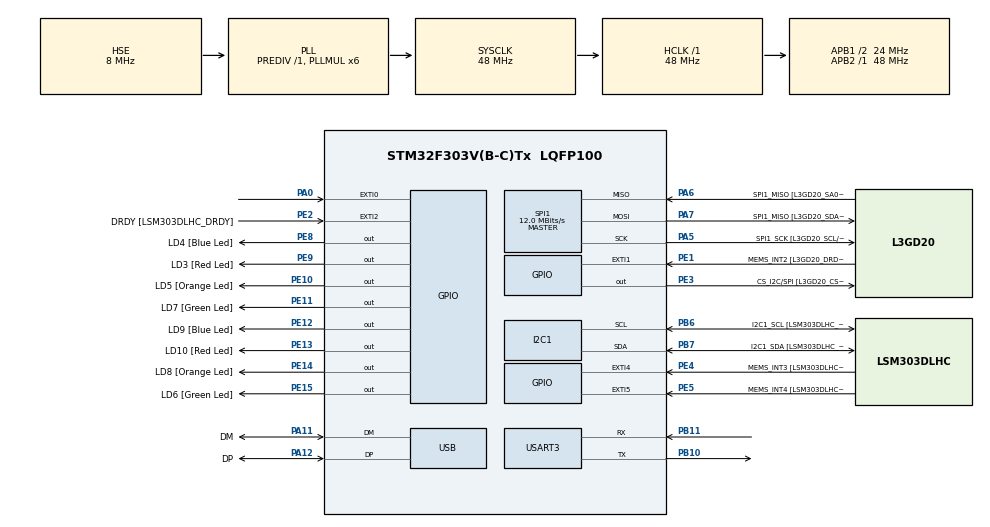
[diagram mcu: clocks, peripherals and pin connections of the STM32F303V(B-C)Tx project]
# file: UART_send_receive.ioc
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I2C1.Timing=0x2000090E
I2C1.Timing-I2C=0x2000090E
Mcu.Family=STM32F3
Mcu.Name=STM32F303V(B-C)Tx
Mcu.Package=LQFP100
NVIC.EXTI0_IRQn=true\:7\:0\:true\:false\:true\:true\:true\:true
NVIC.PriorityGroup=NVIC_PRIORITYGROUP_4
NVIC.TIM6_DAC_IRQn=true\:15\:0\:false\:false\:true\:false\:true\:true
NVIC.TimeBase=TIM6_DAC_IRQn
NVIC.TimeBaseIP=TIM6
NVIC.USART3_IRQn=true\:6\:0\:true\:false\:true\:true\:true\:true
PA0.Signal=GPXTI0
PA11.GPIO_Label=DM
PA11.Mode=Device
PA11.Signal=USB_DM
PA12.GPIO_Label=DP
PA12.Mode=Device
PA12.Signal=USB_DP
PA13.GPIO_Label=SWDIO
PA13.Mode=Serial_Wire
PA13.Signal=SYS_JTMS-SWDIO
PA14.GPIO_Label=SWCLK
PA14.Mode=Serial_Wire
PA14.Signal=SYS_JTCK-SWCLK
PA5.GPIO_Label=SPI1_SCK [L3GD20_SCL/SPC]
PA5.Mode=Full_Duplex_Master
PA5.Signal=SPI1_SCK
PA6.GPIO_Label=SPI1_MISO [L3GD20_SA0/SDO]
PA6.Mode=Full_Duplex_Master
PA6.Signal=SPI1_MISO
PA7.GPIO_Label=SPI1_MISO [L3GD20_SDA/SDI/SDO]
PA7.Mode=Full_Duplex_Master
PA7.Signal=SPI1_MOSI
PB10.Mode=Asynchronous
PB10.Signal=USART3_TX
PB11.Mode=Asynchronous
PB11.Signal=USART3_RX
PB3.GPIO_Label=SWO
PB3.Signal=SYS_JTDO-TRACESWO
PB6.GPIO_Label=I2C1_SCL [LSM303DLHC_SCL]
PB6.GPIO_Pu=GPIO_PULLUP
PB6.Mode=I2C
PB6.Signal=I2C1_SCL
PB7.GPIO_Label=I2C1_SDA [LSM303DLHC_SDA]
PB7.GPIO_Pu=GPIO_PULLUP
PB7.Mode=I2C
PB7.Signal=I2C1_SDA
PC14-OSC32_IN.GPIO_Label=OSC32_IN
PC14-OSC32_IN.Signal=RCC_OSC32_IN
PC15-OSC32_OUT.GPIO_Label=OSC32_OUT
PC15-OSC32_OUT.Signal=RCC_OSC32_OUT
PE1.GPIO_Label=MEMS_INT2 [L3GD20_DRDY/INT2]
PE1.GPIO_ModeDefaultEXTI=GPIO_MODE_EVT_RISING
PE1.Signal=GPXTI1
PE10.GPIO_Label=LD5 [Orange Led]
PE10.Signal=GPIO_Output
PE11.GPIO_Label=LD7 [Green Led]
PE11.Signal=GPIO_Output
PE12.GPIO_Label=LD9 [Blue Led]
PE12.Signal=GPIO_Output
PE13.GPIO_Label=LD10 [Red Led]
PE13.Signal=GPIO_Output
PE14.GPIO_Label=LD8 [Orange Led]
PE14.Signal=GPIO_Output
PE15.GPIO_Label=LD6 [Green Led]
PE15.Signal=GPIO_Output
PE2.GPIO_Label=DRDY [LSM303DLHC_DRDY]
PE2.GPIO_ModeDefaultEXTI=GPIO_MODE_EVT_RISING
PE2.Signal=GPXTI2
PE3.GPIO_Label=CS_I2C/SPI [L3GD20_CS_I2C/SPI]
PE3.Signal=GPIO_Output
PE4.GPIO_Label=MEMS_INT3 [LSM303DLHC_INT1]
PE4.GPIO_ModeDefaultEXTI=GPIO_MODE_EVT_RISING
PE4.Signal=GPXTI4
PE5.GPIO_Label=MEMS_INT4 [LSM303DLHC_INT2]
PE5.GPIO_ModeDefaultEXTI=GPIO_MODE_EVT_RISING
PE5.Signal=GPXTI5
PE8.GPIO_Label=LD4 [Blue Led]
PE8.Signal=GPIO_Output
PE9.GPIO_Label=LD3 [Red Led]
PE9.Signal=GPIO_Output
PF0-OSC_IN.GPIO_Label=OSC_IN
PF0-OSC_IN.Mode=HSE-External-Clock-Source
PF0-OSC_IN.Signal=RCC_OSC_IN
PF1-OSC_OUT.GPIO_Label=OSC_OUT
PF1-OSC_OUT.Signal=RCC_OSC_OUT
ProjectManager.HeapSize=0x200
ProjectManager.StackSize=0x400
ProjectManager.TargetToolchain=STM32CubeIDE
RCC.AHBFreq_Value=48000000
RCC.APB1CLKDivider=RCC_HCLK_DIV2
RCC.APB1Freq_Value=24000000
RCC.APB1TimFreq_Value=48000000
RCC.APB2Freq_Value=48000000
RCC.APB2TimFreq_Value=48000000
RCC.CortexFreq_Value=48000000
RCC.HCLKFreq_Value=48000000
RCC.HSE_VALUE=8000000
RCC.HSI_VALUE=8000000
RCC.LSE_VALUE=32768
RCC.PLLMUL=RCC_PLL_MUL6
RCC.SYSCLKFreq_VALUE=48000000
RCC.SYSCLKSourceVirtual=RCC_SYSCLKSOURCE_PLLCLK
RCC.USBFreq_Value=48000000
SPI1.BaudRatePrescaler=SPI_BAUDRATEPRESCALER_4
SPI1.BaudRatePrescaler-Full_Duplex_Master=SPI_BAUDRATEPRESCALER_2
SPI1.CalculateBaudRate=12.0 MBits/s
SPI1.CalculateBaudRate-Full_Duplex_Master=24.0 MBits/s
SPI1.Direction=SPI_DIRECTION_2LINES
SPI1.Mode=SPI_MODE_MASTER
SPI1.Mode-Full_Duplex_Master=SPI_MODE_MASTER
SPI1.VirtualType=VM_MASTER
USART3.VirtualMode-Asynchronous=VM_ASYNC
VP_SYS_VS_tim6.Mode=TIM6
board=STM32F3DISCOVERY

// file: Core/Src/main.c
/* USER CODE BEGIN Header */
/**
  ******************************************************************************
  * @file           : main.c
  * @brief          : Main program body
  ******************************************************************************
  * @attention
  *
  * Copyright (c) 2023 STMicroelectronics.
  * All rights reserved.
  *
  * This software is licensed under terms that can be found in the LICENSE file
  * in the root directory of this software component.
  * If no LICENSE file comes with this software, it is provided AS-IS.
  *
  ******************************************************************************
  */
/* USER CODE END Header */
#include "main.h"

/* USER CODE BEGIN Includes */
#include <stdio.h>
#include"FreeRTOS.h"
#include "task.h"
#include "queue.h"
#include <string.h>
/* USER CODE END Includes */

/* USER CODE BEGIN PD */
#define DWT_CTRL		(*(volatile uint32_t *) 0xE0001000)

#define LED_GREEN_1 	GPIO_PIN_15
#define LED_GREEN_2 	GPIO_PIN_11
#define LED_ORANGE_1 	GPIO_PIN_14
#define LED_ORANGE_2 	GPIO_PIN_10
#define LED_BLUE_1 		GPIO_PIN_12
#define LED_BLUE_2 		GPIO_PIN_8
#define LED_RED_1		GPIO_PIN_13
#define LED_RED_2		GPIO_PIN_9
/* USER CODE END PD */

I2C_HandleTypeDef hi2c1;

SPI_HandleTypeDef hspi1;

UART_HandleTypeDef huart3;

PCD_HandleTypeDef hpcd_USB_FS;

/* USER CODE BEGIN PV */
TaskHandle_t UART_RX_handle;
TaskHandle_t UART_TX_handle;

/* USER CODE END PV */

void SystemClock_Config(void);
static void MX_GPIO_Init(void);
static void MX_I2C1_Init(void);
static void MX_SPI1_Init(void);
static void MX_USB_PCD_Init(void);
static void MX_USART3_UART_Init(void);

/* USER CODE BEGIN PFP */
static void UART_RX_handler(void* parameters);
static void UART_TX_handler(void* parameters);

void MyIrq(void);
/* USER CODE END PFP */

/* USER CODE BEGIN 0 */
uint8_t rx_buff [100];

xQueueHandle UART_queue;
/* USER CODE END 0 */

int main(void)
{

  /* MCU Configuration--------------------------------------------------------*/

  /* Reset of all peripherals, Initializes the Flash interface and the Systick. */
  HAL_Init();

  /* Configure the system clock */
  SystemClock_Config();

  /* Initialize all configured peripherals */
  MX_GPIO_Init();
  MX_I2C1_Init();
  MX_SPI1_Init();
  MX_USB_PCD_Init();
  MX_USART3_UART_Init();
  /* USER CODE BEGIN 2 */

	DWT_CTRL |= (1 << 0);

	SEGGER_SYSVIEW_Conf();

	SEGGER_SYSVIEW_Start();

	BaseType_t Status;

	Status = xTaskCreate(UART_RX_handler, "UART_RX", 200, "UART_RX running", 3, &UART_RX_handle );
	configASSERT(Status == pdPASS);

	Status = xTaskCreate(UART_TX_handler, "UART_TX", 200, "UART_TX running", 3, &UART_TX_handle );
	configASSERT(Status == pdPASS);

	UART_queue = xQueueCreate(10, sizeof(size_t));
	configASSERT(UART_queue != NULL);

	//START SCHEDULER
	vTaskStartScheduler();

  /* USER CODE END 2 */

  /* Infinite loop */
  while (1)
  {

  }
}

void SystemClock_Config(void)
{
  RCC_OscInitTypeDef RCC_OscInitStruct = {0};
  RCC_ClkInitTypeDef RCC_ClkInitStruct = {0};
  RCC_PeriphCLKInitTypeDef PeriphClkInit = {0};

  /** Initializes the RCC Oscillators according to the specified parameters
  * in the RCC_OscInitTypeDef structure.
  */
  RCC_OscInitStruct.OscillatorType = RCC_OSCILLATORTYPE_HSI|RCC_OSCILLATORTYPE_HSE;
  RCC_OscInitStruct.HSEState = RCC_HSE_BYPASS;
  RCC_OscInitStruct.HSEPredivValue = RCC_HSE_PREDIV_DIV1;
  RCC_OscInitStruct.HSIState = RCC_HSI_ON;
  RCC_OscInitStruct.HSICalibrationValue = RCC_HSICALIBRATION_DEFAULT;
  RCC_OscInitStruct.PLL.PLLState = RCC_PLL_ON;
  RCC_OscInitStruct.PLL.PLLSource = RCC_PLLSOURCE_HSE;
  RCC_OscInitStruct.PLL.PLLMUL = RCC_PLL_MUL6;
  if (HAL_RCC_OscConfig(&RCC_OscInitStruct) != HAL_OK)
  {
    Error_Handler();
  }

  /** Initializes the CPU, AHB and APB buses clocks
  */
  RCC_ClkInitStruct.ClockType = RCC_CLOCKTYPE_HCLK|RCC_CLOCKTYPE_SYSCLK
                              |RCC_CLOCKTYPE_PCLK1|RCC_CLOCKTYPE_PCLK2;
  RCC_ClkInitStruct.SYSCLKSource = RCC_SYSCLKSOURCE_PLLCLK;
  RCC_ClkInitStruct.AHBCLKDivider = RCC_SYSCLK_DIV1;
  RCC_ClkInitStruct.APB1CLKDivider = RCC_HCLK_DIV2;
  RCC_ClkInitStruct.APB2CLKDivider = RCC_HCLK_DIV1;

  if (HAL_RCC_ClockConfig(&RCC_ClkInitStruct, FLASH_LATENCY_1) != HAL_OK)
  {
    Error_Handler();
  }
  PeriphClkInit.PeriphClockSelection = RCC_PERIPHCLK_USB|RCC_PERIPHCLK_USART3
                              |RCC_PERIPHCLK_I2C1;
  PeriphClkInit.Usart3ClockSelection = RCC_USART3CLKSOURCE_PCLK1;
  PeriphClkInit.I2c1ClockSelection = RCC_I2C1CLKSOURCE_HSI;
  PeriphClkInit.USBClockSelection = RCC_USBCLKSOURCE_PLL;
  if (HAL_RCCEx_PeriphCLKConfig(&PeriphClkInit) != HAL_OK)
  {
    Error_Handler();
  }
}

static void MX_I2C1_Init(void)
{

  hi2c1.Instance = I2C1;
  hi2c1.Init.Timing = 0x2000090E;
  hi2c1.Init.OwnAddress1 = 0;
  hi2c1.Init.AddressingMode = I2C_ADDRESSINGMODE_7BIT;
  hi2c1.Init.DualAddressMode = I2C_DUALADDRESS_DISABLE;
  hi2c1.Init.OwnAddress2 = 0;
  hi2c1.Init.OwnAddress2Masks = I2C_OA2_NOMASK;
  hi2c1.Init.GeneralCallMode = I2C_GENERALCALL_DISABLE;
  hi2c1.Init.NoStretchMode = I2C_NOSTRETCH_DISABLE;
  if (HAL_I2C_Init(&hi2c1) != HAL_OK)
  {
    Error_Handler();
  }

  /** Configure Analogue filter
  */
  if (HAL_I2CEx_ConfigAnalogFilter(&hi2c1, I2C_ANALOGFILTER_ENABLE) != HAL_OK)
  {
    Error_Handler();
  }

  /** Configure Digital filter
  */
  if (HAL_I2CEx_ConfigDigitalFilter(&hi2c1, 0) != HAL_OK)
  {
    Error_Handler();
  }

}

static void MX_SPI1_Init(void)
{

  /* SPI1 parameter configuration*/
  hspi1.Instance = SPI1;
  hspi1.Init.Mode = SPI_MODE_MASTER;
  hspi1.Init.Direction = SPI_DIRECTION_2LINES;
  hspi1.Init.DataSize = SPI_DATASIZE_4BIT;
  hspi1.Init.CLKPolarity = SPI_POLARITY_LOW;
  hspi1.Init.CLKPhase = SPI_PHASE_1EDGE;
  hspi1.Init.NSS = SPI_NSS_SOFT;
  hspi1.Init.BaudRatePrescaler = SPI_BAUDRATEPRESCALER_4;
  hspi1.Init.FirstBit = SPI_FIRSTBIT_MSB;
  hspi1.Init.TIMode = SPI_TIMODE_DISABLE;
  hspi1.Init.CRCCalculation = SPI_CRCCALCULATION_DISABLE;
  hspi1.Init.CRCPolynomial = 7;
  hspi1.Init.CRCLength = SPI_CRC_LENGTH_DATASIZE;
  hspi1.Init.NSSPMode = SPI_NSS_PULSE_ENABLE;
  if (HAL_SPI_Init(&hspi1) != HAL_OK)
  {
    Error_Handler();
  }

}

static void MX_USART3_UART_Init(void)
{

  huart3.Instance = USART3;
  huart3.Init.BaudRate = 38400;
  huart3.Init.WordLength = UART_WORDLENGTH_8B;
  huart3.Init.StopBits = UART_STOPBITS_1;
  huart3.Init.Parity = UART_PARITY_NONE;
  huart3.Init.Mode = UART_MODE_TX_RX;
  huart3.Init.HwFlowCtl = UART_HWCONTROL_NONE;
  huart3.Init.OverSampling = UART_OVERSAMPLING_16;
  huart3.Init.OneBitSampling = UART_ONE_BIT_SAMPLE_DISABLE;
  huart3.AdvancedInit.AdvFeatureInit = UART_ADVFEATURE_NO_INIT;
  if (HAL_UART_Init(&huart3) != HAL_OK)
  {
    Error_Handler();
  }

}

static void MX_USB_PCD_Init(void)
{

  hpcd_USB_FS.Instance = USB;
  hpcd_USB_FS.Init.dev_endpoints = 8;
  hpcd_USB_FS.Init.speed = PCD_SPEED_FULL;
  hpcd_USB_FS.Init.phy_itface = PCD_PHY_EMBEDDED;
  hpcd_USB_FS.Init.low_power_enable = DISABLE;
  hpcd_USB_FS.Init.battery_charging_enable = DISABLE;
  if (HAL_PCD_Init(&hpcd_USB_FS) != HAL_OK)
  {
    Error_Handler();
  }

}

static void MX_GPIO_Init(void)
{
  GPIO_InitTypeDef GPIO_InitStruct = {0};

  /* GPIO Ports Clock Enable */
  __HAL_RCC_GPIOE_CLK_ENABLE();
  __HAL_RCC_GPIOC_CLK_ENABLE();
  __HAL_RCC_GPIOF_CLK_ENABLE();
  __HAL_RCC_GPIOA_CLK_ENABLE();
  __HAL_RCC_GPIOB_CLK_ENABLE();

  /*Configure GPIO pin Output Level */
  HAL_GPIO_WritePin(GPIOE, CS_I2C_SPI_Pin|LD4_Pin|LD3_Pin|LD5_Pin
                          |LD7_Pin|LD9_Pin|LD10_Pin|LD8_Pin
                          |LD6_Pin, GPIO_PIN_RESET);

  /*Configure GPIO pins : DRDY_Pin MEMS_INT3_Pin MEMS_INT4_Pin MEMS_INT2_Pin */
  GPIO_InitStruct.Pin = DRDY_Pin|MEMS_INT3_Pin|MEMS_INT4_Pin|MEMS_INT2_Pin;
  GPIO_InitStruct.Mode = GPIO_MODE_EVT_RISING;
  GPIO_InitStruct.Pull = GPIO_NOPULL;
  HAL_GPIO_Init(GPIOE, &GPIO_InitStruct);

  /*Configure GPIO pins : CS_I2C_SPI_Pin LD4_Pin LD3_Pin LD5_Pin
                           LD7_Pin LD9_Pin LD10_Pin LD8_Pin
                           LD6_Pin */
  GPIO_InitStruct.Pin = CS_I2C_SPI_Pin|LD4_Pin|LD3_Pin|LD5_Pin
                          |LD7_Pin|LD9_Pin|LD10_Pin|LD8_Pin
                          |LD6_Pin;
  GPIO_InitStruct.Mode = GPIO_MODE_OUTPUT_PP;
  GPIO_InitStruct.Pull = GPIO_NOPULL;
  GPIO_InitStruct.Speed = GPIO_SPEED_FREQ_LOW;
  HAL_GPIO_Init(GPIOE, &GPIO_InitStruct);

  /*Configure GPIO pin : PA0 */
  GPIO_InitStruct.Pin = GPIO_PIN_0;
  GPIO_InitStruct.Mode = GPIO_MODE_IT_RISING;
  GPIO_InitStruct.Pull = GPIO_NOPULL;
  HAL_GPIO_Init(GPIOA, &GPIO_InitStruct);

  /* EXTI interrupt init*/
  HAL_NVIC_SetPriority(EXTI0_IRQn, 7, 0);
  HAL_NVIC_EnableIRQ(EXTI0_IRQn);

}

/* USER CODE BEGIN 4 */
static void UART_RX_handler(void* parameters)
{
	const char * welcome_text = "\nProgram is working\n";
	uint8_t BUFF = 200;
	char buffor [BUFF];

	HAL_UART_Transmit(&huart3, (uint8_t*)welcome_text, strlen(welcome_text), 100);

	while(1)
	{
		HAL_UART_Receive_IT(&huart3, rx_buff, 1);  ///////////this buffer may be increased in the future

		for(int i = 0; i < BUFF; i++)
		{

			xTaskNotifyWait(0, 0, (uint32_t *)&buffor[i], portMAX_DELAY);
			//checks buffor overflow
			if(i == (BUFF-1))
			{
				configASSERT(buffor[i] == '\r');
			}

			if(buffor[i] == '\r')
			{
				break;
			}

		}

		uint32_t * wsk_tmp = (uint32_t*)&buffor;
		xQueueSend(UART_queue, (void*)&wsk_tmp, portMAX_DELAY);
		HAL_GPIO_TogglePin(GPIOE, GPIO_PIN_15);
	}
}

static void UART_TX_handler(void* parameters){
	uint8_t * wsk = NULL;
	char * tmp = "\n";
	while(1)
	{
		xQueueReceive(UART_queue, &wsk, portMAX_DELAY);
		HAL_GPIO_TogglePin(GPIOE, GPIO_PIN_14);

		while(*wsk != '\r')
		{
			HAL_UART_Transmit(&huart3, wsk, 1, 100);
			wsk +=1;
		}

		HAL_UART_Transmit(&huart3, (uint8_t*)tmp, 1, 100);
	}
}

void MyIrq(void){
	HAL_GPIO_TogglePin(GPIOE, GPIO_PIN_14);
}

void HAL_UART_RxCpltCallback(UART_HandleTypeDef *huart){
	 HAL_UART_Receive_IT(&huart3, rx_buff, 1);
	 xTaskNotifyFromISR(UART_RX_handle, *rx_buff, eSetValueWithOverwrite, NULL);
//	 if(rx_buff[0]=='\r'){
//		 HAL_GPIO_TogglePin(GPIOE, GPIO_PIN_10);
//	 }
}

/* USER CODE END 4 */

void HAL_TIM_PeriodElapsedCallback(TIM_HandleTypeDef *htim)
{
  if (htim->Instance == TIM6) {
    HAL_IncTick();
  }
}

void Error_Handler(void)
{
  __disable_irq();
  while (1)
  {
  }
}
